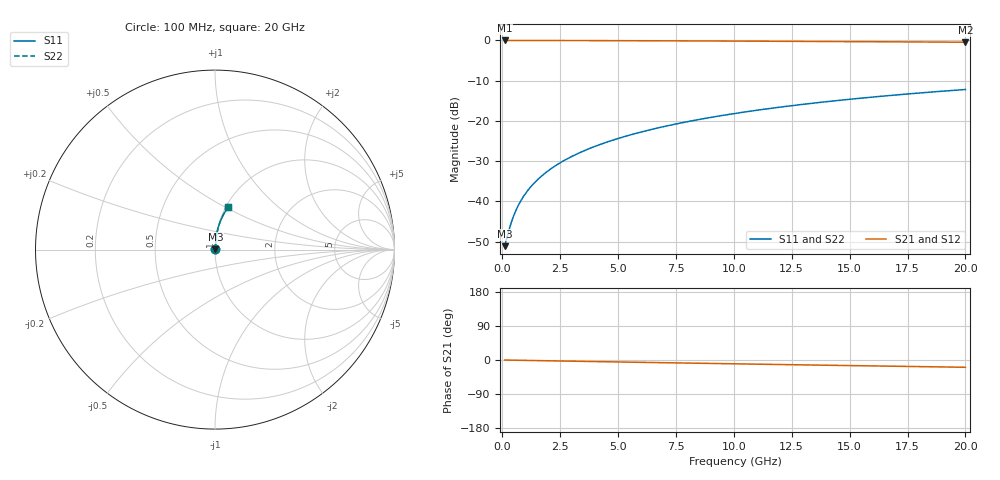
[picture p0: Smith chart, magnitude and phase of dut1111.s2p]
! Touchstone file exported from HFSS 2024.1.0
!  File:  C:/UserFiles/LocalFiles/RDL_TSV_Batchsim/temp_RDL_top_1111_1780046696.aedt
!  Generated:  05:27:05 PM May 29, 2026
!  Design:  RDL_top
!  Project:  temp_RDL_top_1111_1780046696
!  Setup:  Setup1
!  Solution:  Sweep
! Variables:
!  dtsv = 10.80580581um
!  hbump = 3um
!  htsv = 99.31um
!  ldown = 100um
!  lrdl = 197.53um
!  p = 40
!  p1 = 51um
!  rhole = 1um
!  t = 450um
!  tdown = 3.915915916um
!  trdl = 2.1um
!  wdown = 15.38538539um
!  wrdl = 15.41um
# GHz S MA R 50.000000
! Terminal data exported
! Port[1] = Box2_T1
! Port[2] = Box2_T2
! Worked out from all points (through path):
!   200 points, 100 MHz to 20 GHz, reference 50 ohm
!   highest |S21| = -0.02 dB at 100 MHz (marker M1); lowest = -0.5 dB at 20 GHz (marker M2)
!   group delay of S21, straight-line fit = 2.66 ps
!   lowest |S11| = -51.1 dB at 100 MHz (marker M3), VSWR 1.01, Z = 50.2 + j0.126 ohm
!   |S11| at or under -10 dB: start of sweep to end of sweep
!   |S22| runs from -51.1 to -12.2 dB; largest |S21 - S12| = 4.4e-15
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0.1  0.002789 26.8  0.9975 -0.1  0.9975 -0.1  0.002789 26.8
! Gamma 0 0 0 0
! Port Impedance 50 0 50 0
0.3  0.004537 55.7  0.9974 -0.3  0.9974 -0.3  0.004537 55.7
0.4  0.005619 62.4  0.9974 -0.4  0.9974 -0.4  0.005619 62.4
0.5  0.006746 66.8  0.9973 -0.5  0.9973 -0.5  0.006746 66.8
0.6  0.007891 69.9  0.9972 -0.6  0.9972 -0.6  0.007892 69.9
0.7  0.009047 72.2  0.9972 -0.8  0.9972 -0.8  0.009047 72.2
0.9  0.01137 75.4  0.997 -1.0  0.997 -1.0  0.01137 75.4
1.2  0.01487 78.3  0.9968 -1.3  0.9968 -1.3  0.01487 78.3
1.4  0.01721 79.6  0.9966 -1.5  0.9966 -1.5  0.01721 79.6
1.7  0.02074 81.0  0.9964 -1.8  0.9964 -1.8  0.02074 81.0
2.2  0.02666 82.5  0.9959 -2.3  0.9959 -2.3  0.02666 82.5
2.8  0.03382 83.5  0.9953 -2.9  0.9953 -2.9  0.03382 83.5
3.5  0.04225 84.1  0.9944 -3.7  0.9944 -3.7  0.04225 84.1
4.2  0.05075 84.4  0.9933 -4.4  0.9933 -4.4  0.05075 84.4
5  0.06056 84.4  0.9919 -5.2  0.9919 -5.2  0.06056 84.4
5.9  0.07169 84.2  0.9901 -6.1  0.9901 -6.1  0.07169 84.2
6.8  0.08291 83.9  0.9882 -7.0  0.9882 -7.0  0.08291 83.9
8.3  0.1018 83.0  0.9846 -8.4  0.9846 -8.4  0.1018 83.0
10.1  0.1245 81.7  0.9799 -10.2  0.9799 -10.2  0.1245 81.7
13.4  0.1659 79.0  0.9704 -13.3  0.9704 -13.3  0.1659 79.0
16.7  0.2065 76.0  0.9598 -16.3  0.9598 -16.3  0.2065 76.0
20  0.2456 72.9  0.9483 -19.2  0.9483 -19.2  0.2456 72.9
